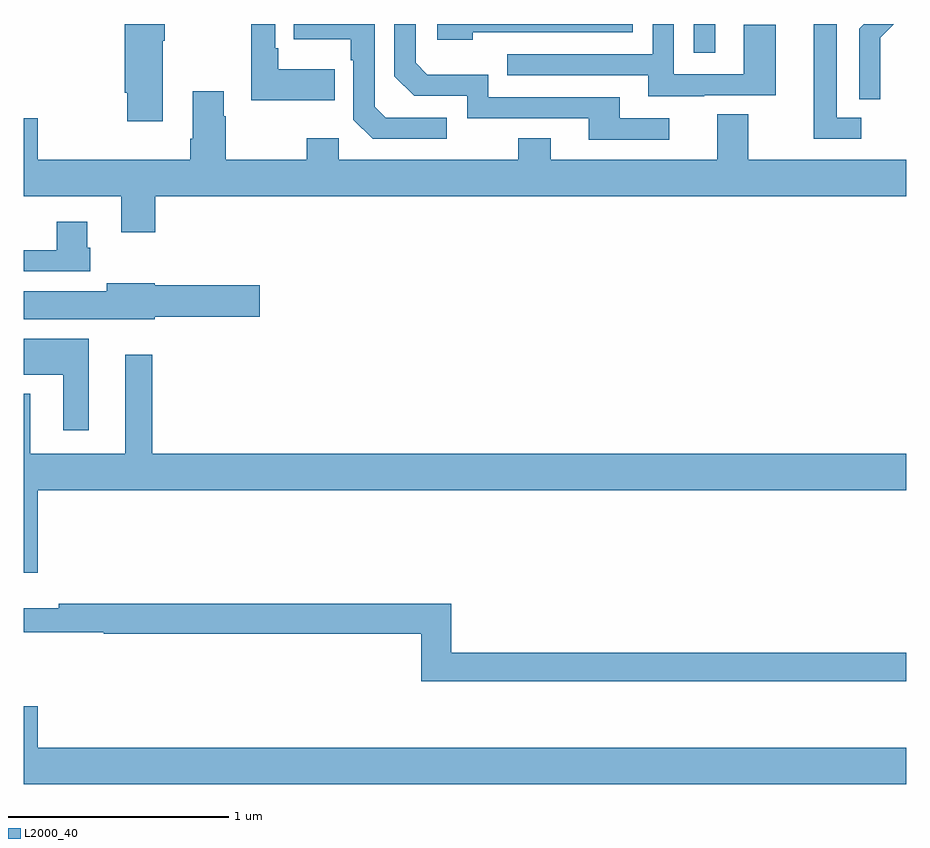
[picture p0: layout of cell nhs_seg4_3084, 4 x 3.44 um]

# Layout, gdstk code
import gdstk
lib = gdstk.Library(unit=1e-6, precision=1e-09)
def R(c, l, rs):  # rectangles x0, y0, x1, y1
    for r in rs: c.add(gdstk.rectangle(r[:2], r[2:], *l))
def P(c, l, *ps):  # polygons
    for p in ps: c.add(gdstk.Polygon(p, *l))
L2000_40 = (2000, 40)

nhs_seg4_3084 = lib.new_cell('nhs_seg4_3084')
R(nhs_seg4_3084, L2000_40, [(276.036,830.769,276.133,830.9)])
P(nhs_seg4_3084, L2000_40, [(274.918,830.475),(274.641,830.475),(274.59,830.526),(274.59,830.9),(274.225,830.9),(274.225,830.831),(274.482,830.831),(274.482,830.735),(274.494,830.735),(274.494,830.466),(274.581,830.379),(274.918,830.379)],
  [(276.085,830.577),(276.409,830.577),(276.409,830.897),(276.264,830.897),(276.264,830.673),(275.946,830.673),(275.946,830.9),(275.85,830.9),(275.85,830.763),(275.191,830.763),(275.191,830.667),(275.831,830.667),(275.831,830.573),(276.085,830.573)],
  [(275.926,830.472),(275.701,830.472),(275.701,830.568),(275.106,830.568),(275.106,830.671),(274.829,830.671),(274.776,830.724),(274.776,830.9),(274.68,830.9),(274.68,830.664),(274.77,830.574),(275.01,830.574),(275.01,830.472),(275.561,830.472),(275.561,830.376),(275.926,830.376)],
  [(276.882,830.714),(276.881,830.714),(276.881,830.837),(276.944,830.9),(276.808,830.9),(276.786,830.878),(276.786,830.56),(276.882,830.56)],
  [(275.036,830.862),(275.76,830.862),(275.76,830.9),(274.875,830.9),(274.875,830.828),(275.036,830.828)],
  [(276.796,830.475),(276.685,830.475),(276.685,830.9),(276.581,830.9),(276.581,830.379),(276.796,830.379)],
  [(273.631,830.825),(273.639,830.825),(273.639,830.9),(273.458,830.9),(273.458,830.589),(273.469,830.589),(273.469,830.46),(273.631,830.46)],
  [(274.409,830.695),(274.153,830.695),(274.153,830.791),(274.14,830.791),(274.14,830.9),(274.032,830.9),(274.032,830.555),(274.409,830.555)],
  [(276.143,830.492),(276.143,830.284),(275.389,830.284),(275.389,830.383),(275.242,830.383),(275.242,830.284),(274.428,830.284),(274.428,830.383),(274.282,830.383),(274.282,830.284),(273.915,830.284),(273.915,830.483),(273.907,830.483),(273.907,830.596),(273.767,830.596),(273.767,830.38),(273.755,830.38),(273.755,830.284),(273.064,830.284),(273.064,830.473),(273,830.473),(273,830.12),(273.443,830.12),(273.443,829.956),(273.596,829.956),(273.596,830.12),(277,830.12),(277,830.284),(276.283,830.284),(276.283,830.492)],
  [(273.302,829.887),(273.289,829.887),(273.289,830.005),(273.149,830.005),(273.149,829.875),(273,829.875),(273,829.779),(273.302,829.779)],
  [(273.594,829.574),(274.069,829.574),(274.069,829.716),(273.594,829.716),(273.594,829.726),(273.377,829.726),(273.377,829.69),(273,829.69),(273,829.562),(273.594,829.562)],
  [(273.295,829.474),(273,829.474),(273,829.31),(273.179,829.31),(273.179,829.059),(273.295,829.059)],
  [(273.064,828.788),(277,828.788),(277,828.952),(273.583,828.952),(273.583,829.402),(273.461,829.402),(273.461,828.952),(273.031,828.952),(273.031,829.225),(273,829.225),(273,828.414),(273.064,828.414)],
  [(277,828.05),(274.937,828.05),(274.937,828.272),(273.16,828.272),(273.16,828.253),(273,828.253),(273,828.144),(273.362,828.144),(273.362,828.136),(274.801,828.136),(274.801,827.922),(277,827.922)],
  [(277,827.62),(273.064,827.62),(273.064,827.809),(273,827.809),(273,827.456),(277,827.456)])

lib.write_gds('nhs_seg4_3084.gds')
